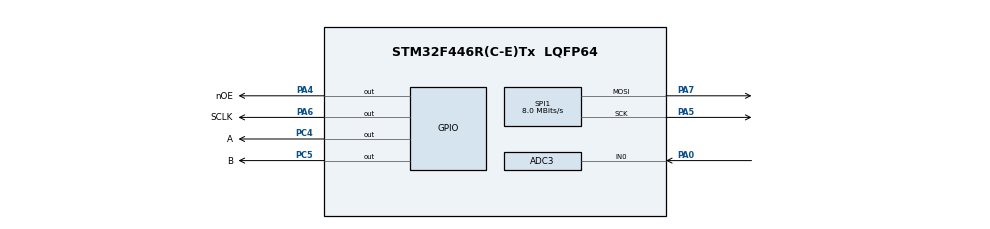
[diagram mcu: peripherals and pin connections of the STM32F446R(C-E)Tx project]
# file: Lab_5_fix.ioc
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ADC3.Channel-0\#ChannelRegularConversion=ADC_CHANNEL_0
ADC3.NbrOfConversionFlag=1
ADC3.Rank-0\#ChannelRegularConversion=1
ADC3.SamplingTime-0\#ChannelRegularConversion=ADC_SAMPLETIME_3CYCLES
Mcu.Family=STM32F4
Mcu.Name=STM32F446R(C-E)Tx
Mcu.Package=LQFP64
NVIC.ADC_IRQn=true\:0\:0\:false\:false\:true\:true\:true\:true
NVIC.PriorityGroup=NVIC_PRIORITYGROUP_4
NVIC.TIM2_IRQn=true\:0\:0\:false\:false\:true\:true\:true\:true
PA0-WKUP.Signal=ADCx_IN0
PA13.Mode=Serial_Wire
PA13.Signal=SYS_JTMS-SWDIO
PA14.Mode=Serial_Wire
PA14.Signal=SYS_JTCK-SWCLK
PA4.GPIO_Label=nOE
PA4.Signal=GPIO_Output
PA5.Mode=TX_Only_Simplex_Unidirect_Master
PA5.Signal=SPI1_SCK
PA6.GPIO_Label=SCLK
PA6.Signal=GPIO_Output
PA7.Mode=TX_Only_Simplex_Unidirect_Master
PA7.Signal=SPI1_MOSI
PC4.GPIO_Label=A
PC4.Signal=GPIO_Output
PC5.GPIO_Label=B
PC5.Signal=GPIO_Output
PH0-OSC_IN.Mode=HSE-External-Oscillator
PH0-OSC_IN.Signal=RCC_OSC_IN
PH1-OSC_OUT.Mode=HSE-External-Oscillator
PH1-OSC_OUT.Signal=RCC_OSC_OUT
ProjectManager.HeapSize=0x200
ProjectManager.StackSize=0x400
ProjectManager.TargetToolchain=STM32CubeIDE
RCC.CortexFreq_Value=16000000
RCC.USBFreq_Value=96000000
RCC.VCOOutputFreq_Value=192000000
SH.ADCx_IN0.0=ADC3_IN0,IN0
SPI1.CalculateBaudRate=8.0 MBits/s
SPI1.Direction=SPI_DIRECTION_2LINES
SPI1.Mode=SPI_MODE_MASTER
SPI1.VirtualType=VM_MASTER
TIM2.Channel-Output\ Compare1\ No\ Output=TIM_CHANNEL_1
TIM2.Period=16000
TIM2.Prescaler=50
VP_TIM2_VS_no_output1.Mode=Output Compare1 No Output
board=custom

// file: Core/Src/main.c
/* USER CODE BEGIN Header */
/**
  ******************************************************************************
  * @file           : main.c
  * @brief          : Main program body
  ******************************************************************************
  * @attention
  *
  * Copyright (c) 2023 STMicroelectronics.
  * All rights reserved.
  *
  * This software is licensed under terms that can be found in the LICENSE file
  * in the root directory of this software component.
  * If no LICENSE file comes with this software, it is provided AS-IS.
  *
  ******************************************************************************
  */
/* USER CODE END Header */
#include "main.h"

/* USER CODE BEGIN Includes */
#include "disp1color.h"
#include "font.h"
#include <locale.h>
/* USER CODE END Includes */

/* USER CODE BEGIN PD */
#define f6x8_MONO_WIDTH 6
#define WIDTHs 32
#define HEIGHTs 16
#define MAX_LENGTH 50
/* USER CODE END PD */

ADC_HandleTypeDef hadc3;

SPI_HandleTypeDef hspi1;

TIM_HandleTypeDef htim2;

/* USER CODE BEGIN PV */
int16_t X = 32;
uint16_t Period = 70;
uint16_t TickNum = 1; //150
extern uint8_t data1[16], data2[16], data3[16], data4[16];

uint16_t food_point[7] = {202, 1004, 510, 3003, 2512, 2811, 1304};
uint8_t cur_food = 1;

uint16_t snakeX[MAX_LENGTH], snakeY[MAX_LENGTH];
uint16_t snakeLength = 3;
uint16_t direction = 1;  // 1: right, 2: down, 3: left, 4: up
uint16_t score = 0;
uint16_t gameOver = 0;
uint16_t foodX, foodY;
uint16_t adc_button = 0;

/* USER CODE END PV */

void SystemClock_Config(void);
static void MX_GPIO_Init(void);
static void MX_SPI1_Init(void);
static void MX_ADC3_Init(void);
static void MX_TIM2_Init(void);

/* USER CODE BEGIN 0 */
// функция для загрузки данных по spi
void disp_row(int row){

	  if (row == 0){

		  for(uint8_t i=0; i<6; i++){
		  		HAL_SPI_Transmit(&hspi1, &data1, 16, 10);
		  }

		  HAL_GPIO_WritePin(SCLK_GPIO_Port, SCLK_Pin, GPIO_PIN_RESET);
		  HAL_GPIO_WritePin(SCLK_GPIO_Port, SCLK_Pin, GPIO_PIN_SET);

		  HAL_GPIO_WritePin(A_GPIO_Port, A_Pin, GPIO_PIN_RESET);
		  HAL_GPIO_WritePin(B_GPIO_Port, B_Pin, GPIO_PIN_RESET);
	  }
	  if (row == 1){

		  for(uint8_t i=0; i<6; i++){
		  		HAL_SPI_Transmit(&hspi1, &data2, 16, 10);
		  }

		  HAL_GPIO_WritePin(SCLK_GPIO_Port, SCLK_Pin, GPIO_PIN_RESET);
		  HAL_GPIO_WritePin(SCLK_GPIO_Port, SCLK_Pin, GPIO_PIN_SET);

		  HAL_GPIO_WritePin(A_GPIO_Port, A_Pin, GPIO_PIN_SET);
		  HAL_GPIO_WritePin(B_GPIO_Port, B_Pin, GPIO_PIN_RESET);
	  }

	  if (row == 2){

		  for(uint8_t i=0; i<6; i++){
		  		HAL_SPI_Transmit(&hspi1, &data3, 16, 10);
		  }

		  HAL_GPIO_WritePin(SCLK_GPIO_Port, SCLK_Pin, GPIO_PIN_RESET);
		  HAL_GPIO_WritePin(SCLK_GPIO_Port, SCLK_Pin, GPIO_PIN_SET);

		  HAL_GPIO_WritePin(A_GPIO_Port, A_Pin, GPIO_PIN_RESET);
		  HAL_GPIO_WritePin(B_GPIO_Port, B_Pin, GPIO_PIN_SET);
	  }

	  if (row == 3){

		  for(uint8_t i=0; i<6; i++){
		  		HAL_SPI_Transmit(&hspi1, &data4, 16, 10);
		  }

		  HAL_GPIO_WritePin(SCLK_GPIO_Port, SCLK_Pin, GPIO_PIN_RESET);
		  HAL_GPIO_WritePin(SCLK_GPIO_Port, SCLK_Pin, GPIO_PIN_SET);

		  HAL_GPIO_WritePin(A_GPIO_Port, A_Pin, GPIO_PIN_SET);
		  HAL_GPIO_WritePin(B_GPIO_Port, B_Pin, GPIO_PIN_SET);
	  }

	  HAL_GPIO_WritePin(nOE_GPIO_Port, nOE_Pin, GPIO_PIN_SET);
		  for(uint32_t x=0; x<=300; x++) {};
	 HAL_GPIO_WritePin(nOE_GPIO_Port, nOE_Pin, GPIO_PIN_RESET);
  }

// функция рисования змейки
void draw_snake() {
    for (int16_t y = 0; y < HEIGHTs; y++) {
        for (int16_t x = 0; x < WIDTHs; x++) {
            if (x == snakeX[0] && y == snakeY[0]) { disp1color_DrawPixel(x, y, 1); }
            else if (x == foodX && y == foodY) { disp1color_DrawPixel(x, y, 1); }
            else
            {
                int flag = 0;
                for (int i = 1; i < snakeLength; i++)
                {
                    if (x == snakeX[i] && y == snakeY[i])
                    {
                    	disp1color_DrawPixel(x, y, 1);
                        flag = 1;
                        break;
                    }
                }
                if (flag == 0)
                	disp1color_DrawPixel(x, y, 0);
            }
        }
    }
}
// функция обработки нажатия кнопки
void input() {
	uint16_t b = adc_button;
	switch (b) {
		case 1:
			if (direction != 2){ direction = 4; break; }
		case 2:
			if (direction != 3) { direction = 1; break; }
		case 3:
			if (direction != 4) { direction = 2; break; }
		case 4:
			if (direction != 1) { direction = 3; break; }
	}
}
// функция расчёта змейки
void update() {
	// moving
    for (int16_t i = snakeLength - 1; i > 0; i--) {
        snakeX[i] = snakeX[i - 1];
        snakeY[i] = snakeY[i - 1];
    }

    switch (direction) {
        case 1:  // right
            snakeX[0]++;
            break;
        case 2:  // down
            snakeY[0]++;
            break;
        case 3:  // left
            snakeX[0]--;
            break;
        case 4:  // up
            snakeY[0]--;
            break;
    }

    // check collision with food
    if (snakeX[0] == foodX && snakeY[0] == foodY)
    {
        // increase snake length
        snakeLength++;
        score++;

        // generate new food position
//        foodX = food_point[cur_food] / 100;
//        foodY = food_point[cur_food] % 100;
//        cur_food++;

        foodX = rand() % WIDTHs;
		foodY = rand() % HEIGHTs;
    }

    // check collision with wall
    if (snakeX[0] < 0 || snakeX[0] >= WIDTHs || snakeY[0] < 0 || snakeY[0] >= HEIGHTs)
    {
        gameOver = 1;
    }

    // check collision with self
    for (int i = 1; i < snakeLength; i++)
    {
        if (snakeX[0] == snakeX[i] && snakeY[0] == snakeY[i])
        {
            gameOver = 1;
            break;
        }
    }
}
/* USER CODE END 0 */

int main(void)
{

  /* MCU Configuration--------------------------------------------------------*/

  /* Reset of all peripherals, Initializes the Flash interface and the Systick. */
  HAL_Init();

  /* Configure the system clock */
  SystemClock_Config();

  /* Initialize all configured peripherals */
  MX_GPIO_Init();
  MX_SPI1_Init();
  MX_ADC3_Init();
  MX_TIM2_Init();
  /* USER CODE BEGIN 2 */
  HAL_TIM_Base_Start_IT(&htim2);

  srand(6);
  // задание начальных условий положения змейки
  snakeX[0] = WIDTHs / 2;
  snakeY[0] = HEIGHTs / 2;
  snakeX[1] = snakeX[0] - 1;
  snakeY[1] = snakeY[0];
  snakeX[2] = snakeX[1] - 1;
  snakeY[2] = snakeY[1];
//  foodX = food_point[0] / 100;
//  foodY = food_point[0] % 100;
  // задание начального положения еды
  foodX = rand() % WIDTHs;
  foodY = rand() % HEIGHTs;

  char *gameover = "GAMEOVER SCORE IS ";
  char *scor[3];

  /* USER CODE END 2 */

  /* Infinite loop */
  /* USER CODE BEGIN WHILE */
  while (1) {
	// Играй пока не врезался
	if (!gameOver) {
		draw_snake();
		input();
		update();
		// обновление данных в панели
		disp1color_UpdateFromBuff();
		prepare_data();
		for(uint8_t i=0; i<20; i++){
			  disp_row(0);
			  disp_row(1);
			  disp_row(2);
			  disp_row(3);
		  }
	}
	// в случае проигрыша выражаю соболезнования
	else {
		// загрузка строки gameover
		sprintf(scor, "%d", score);
		char *pMyStr[100];
		snprintf(pMyStr, sizeof pMyStr, "%s%s", gameover, scor);
		uint16_t strSize = strlen(pMyStr);
		uint8_t symbolDelay = 2;
		// печать строки gameover
		for (int16_t x = 30; x > -((strSize + symbolDelay) * f6x8_MONO_WIDTH); x--){
		  disp1color_printf(x, 4, FONTID_6X8M, pMyStr);
		  // обновление данных в панели
		  disp1color_UpdateFromBuff();
		  prepare_data();
		  for(uint8_t i=0; i<20; i++){
			  disp_row(0);
			  disp_row(1);
			  disp_row(2);
			  disp_row(3);
		  }
		}
	}
    /* USER CODE END WHILE */

  }
}

void SystemClock_Config(void)
{
  RCC_OscInitTypeDef RCC_OscInitStruct = {0};
  RCC_ClkInitTypeDef RCC_ClkInitStruct = {0};

  /** Configure the main internal regulator output voltage
  */
  __HAL_RCC_PWR_CLK_ENABLE();
  __HAL_PWR_VOLTAGESCALING_CONFIG(PWR_REGULATOR_VOLTAGE_SCALE3);

  /** Initializes the RCC Oscillators according to the specified parameters
  * in the RCC_OscInitTypeDef structure.
  */
  RCC_OscInitStruct.OscillatorType = RCC_OSCILLATORTYPE_HSI;
  RCC_OscInitStruct.HSIState = RCC_HSI_ON;
  RCC_OscInitStruct.HSICalibrationValue = RCC_HSICALIBRATION_DEFAULT;
  RCC_OscInitStruct.PLL.PLLState = RCC_PLL_NONE;
  if (HAL_RCC_OscConfig(&RCC_OscInitStruct) != HAL_OK)
  {
    Error_Handler();
  }

  /** Initializes the CPU, AHB and APB buses clocks
  */
  RCC_ClkInitStruct.ClockType = RCC_CLOCKTYPE_HCLK|RCC_CLOCKTYPE_SYSCLK
                              |RCC_CLOCKTYPE_PCLK1|RCC_CLOCKTYPE_PCLK2;
  RCC_ClkInitStruct.SYSCLKSource = RCC_SYSCLKSOURCE_HSI;
  RCC_ClkInitStruct.AHBCLKDivider = RCC_SYSCLK_DIV1;
  RCC_ClkInitStruct.APB1CLKDivider = RCC_HCLK_DIV1;
  RCC_ClkInitStruct.APB2CLKDivider = RCC_HCLK_DIV1;

  if (HAL_RCC_ClockConfig(&RCC_ClkInitStruct, FLASH_LATENCY_0) != HAL_OK)
  {
    Error_Handler();
  }
}

static void MX_ADC3_Init(void)
{

  ADC_ChannelConfTypeDef sConfig = {0};

  /** Configure the global features of the ADC (Clock, Resolution, Data Alignment and number of conversion)
  */
  hadc3.Instance = ADC3;
  hadc3.Init.ClockPrescaler = ADC_CLOCK_SYNC_PCLK_DIV2;
  hadc3.Init.Resolution = ADC_RESOLUTION_12B;
  hadc3.Init.ScanConvMode = DISABLE;
  hadc3.Init.ContinuousConvMode = DISABLE;
  hadc3.Init.DiscontinuousConvMode = DISABLE;
  hadc3.Init.ExternalTrigConvEdge = ADC_EXTERNALTRIGCONVEDGE_NONE;
  hadc3.Init.ExternalTrigConv = ADC_SOFTWARE_START;
  hadc3.Init.DataAlign = ADC_DATAALIGN_RIGHT;
  hadc3.Init.NbrOfConversion = 1;
  hadc3.Init.DMAContinuousRequests = DISABLE;
  hadc3.Init.EOCSelection = ADC_EOC_SINGLE_CONV;
  if (HAL_ADC_Init(&hadc3) != HAL_OK)
  {
    Error_Handler();
  }

  /** Configure for the selected ADC regular channel its corresponding rank in the sequencer and its sample time.
  */
  sConfig.Channel = ADC_CHANNEL_0;
  sConfig.Rank = 1;
  sConfig.SamplingTime = ADC_SAMPLETIME_3CYCLES;
  if (HAL_ADC_ConfigChannel(&hadc3, &sConfig) != HAL_OK)
  {
    Error_Handler();
  }

}

static void MX_SPI1_Init(void)
{

  /* SPI1 parameter configuration*/
  hspi1.Instance = SPI1;
  hspi1.Init.Mode = SPI_MODE_MASTER;
  hspi1.Init.Direction = SPI_DIRECTION_2LINES;
  hspi1.Init.DataSize = SPI_DATASIZE_8BIT;
  hspi1.Init.CLKPolarity = SPI_POLARITY_LOW;
  hspi1.Init.CLKPhase = SPI_PHASE_1EDGE;
  hspi1.Init.NSS = SPI_NSS_SOFT;
  hspi1.Init.BaudRatePrescaler = SPI_BAUDRATEPRESCALER_2;
  hspi1.Init.FirstBit = SPI_FIRSTBIT_MSB;
  hspi1.Init.TIMode = SPI_TIMODE_DISABLE;
  hspi1.Init.CRCCalculation = SPI_CRCCALCULATION_DISABLE;
  hspi1.Init.CRCPolynomial = 10;
  if (HAL_SPI_Init(&hspi1) != HAL_OK)
  {
    Error_Handler();
  }

}

static void MX_TIM2_Init(void)
{

  TIM_MasterConfigTypeDef sMasterConfig = {0};
  TIM_OC_InitTypeDef sConfigOC = {0};

  htim2.Instance = TIM2;
  htim2.Init.Prescaler = 50;
  htim2.Init.CounterMode = TIM_COUNTERMODE_UP;
  htim2.Init.Period = 16000;
  htim2.Init.ClockDivision = TIM_CLOCKDIVISION_DIV1;
  htim2.Init.AutoReloadPreload = TIM_AUTORELOAD_PRELOAD_DISABLE;
  if (HAL_TIM_OC_Init(&htim2) != HAL_OK)
  {
    Error_Handler();
  }
  sMasterConfig.MasterOutputTrigger = TIM_TRGO_RESET;
  sMasterConfig.MasterSlaveMode = TIM_MASTERSLAVEMODE_DISABLE;
  if (HAL_TIMEx_MasterConfigSynchronization(&htim2, &sMasterConfig) != HAL_OK)
  {
    Error_Handler();
  }
  sConfigOC.OCMode = TIM_OCMODE_TIMING;
  sConfigOC.Pulse = 0;
  sConfigOC.OCPolarity = TIM_OCPOLARITY_HIGH;
  sConfigOC.OCFastMode = TIM_OCFAST_DISABLE;
  if (HAL_TIM_OC_ConfigChannel(&htim2, &sConfigOC, TIM_CHANNEL_1) != HAL_OK)
  {
    Error_Handler();
  }

}

static void MX_GPIO_Init(void)
{
  GPIO_InitTypeDef GPIO_InitStruct = {0};

  /* GPIO Ports Clock Enable */
  __HAL_RCC_GPIOH_CLK_ENABLE();
  __HAL_RCC_GPIOA_CLK_ENABLE();
  __HAL_RCC_GPIOC_CLK_ENABLE();

  /*Configure GPIO pin Output Level */
  HAL_GPIO_WritePin(GPIOA, nOE_Pin|SCLK_Pin, GPIO_PIN_RESET);

  /*Configure GPIO pin Output Level */
  HAL_GPIO_WritePin(GPIOC, A_Pin|B_Pin, GPIO_PIN_RESET);

  /*Configure GPIO pins : nOE_Pin SCLK_Pin */
  GPIO_InitStruct.Pin = nOE_Pin|SCLK_Pin;
  GPIO_InitStruct.Mode = GPIO_MODE_OUTPUT_PP;
  GPIO_InitStruct.Pull = GPIO_NOPULL;
  GPIO_InitStruct.Speed = GPIO_SPEED_FREQ_LOW;
  HAL_GPIO_Init(GPIOA, &GPIO_InitStruct);

  /*Configure GPIO pins : A_Pin B_Pin */
  GPIO_InitStruct.Pin = A_Pin|B_Pin;
  GPIO_InitStruct.Mode = GPIO_MODE_OUTPUT_PP;
  GPIO_InitStruct.Pull = GPIO_NOPULL;
  GPIO_InitStruct.Speed = GPIO_SPEED_FREQ_LOW;
  HAL_GPIO_Init(GPIOC, &GPIO_InitStruct);

}

void Error_Handler(void)
{
  __disable_irq();
  while (1)
  {
  }
}
